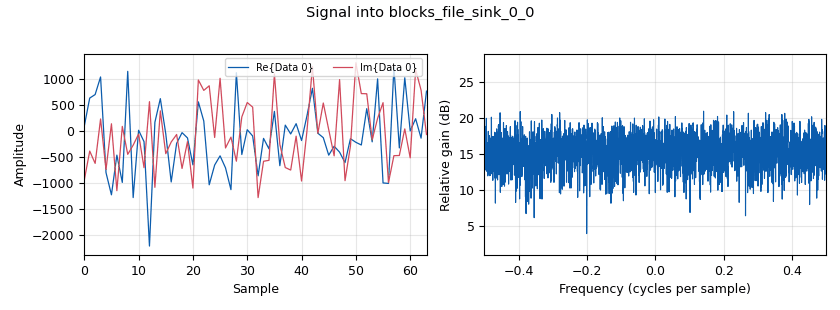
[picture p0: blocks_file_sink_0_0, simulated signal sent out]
<?xml version='1.0' encoding='utf-8'?>
<?grc format='1' created='3.7.10'?>
<flow_graph>
<block>
<key>options</key>
<param><key>id</key><value>top_block</value></param>
<param><key>generate_options</key><value>qt_gui</value></param>
</block>
<block>
<key>variable</key>
<param><key>id</key><value>samp_rate</value></param>
<param><key>value</key><value>32000</value></param>
</block>
<block>
<key>analog_noise_source_x</key>
<param><key>id</key><value>analog_noise_source_x_0</value></param>
<param><key>amp</key><value>1000</value></param>
<param><key>noise_type</key><value>analog.GR_GAUSSIAN</value></param>
<param><key>type</key><value>complex</value></param>
<param><key>seed</key><value>2500</value></param>
</block>
<block>
<key>blocks_file_sink</key>
<param><key>id</key><value>blocks_file_sink_0_0</value></param>
<param><key>file</key><value>/home/carlos/Escritorio/matlab/data/ruido.dat</value></param>
<param><key>type</key><value>complex</value></param>
</block>
<block>
<key>blocks_head</key>
<param><key>id</key><value>blocks_head_0_0</value></param>
<param><key>num_items</key><value>100*3840</value></param>
<param><key>type</key><value>complex</value></param>
</block>
<connection><source_block_id>analog_noise_source_x_0</source_block_id><sink_block_id>blocks_head_0_0</sink_block_id><source_key>0</source_key><sink_key>0</sink_key></connection>
<connection><source_block_id>blocks_head_0_0</source_block_id><sink_block_id>blocks_file_sink_0_0</sink_block_id><source_key>0</source_key><sink_key>0</sink_key></connection>
</flow_graph>
